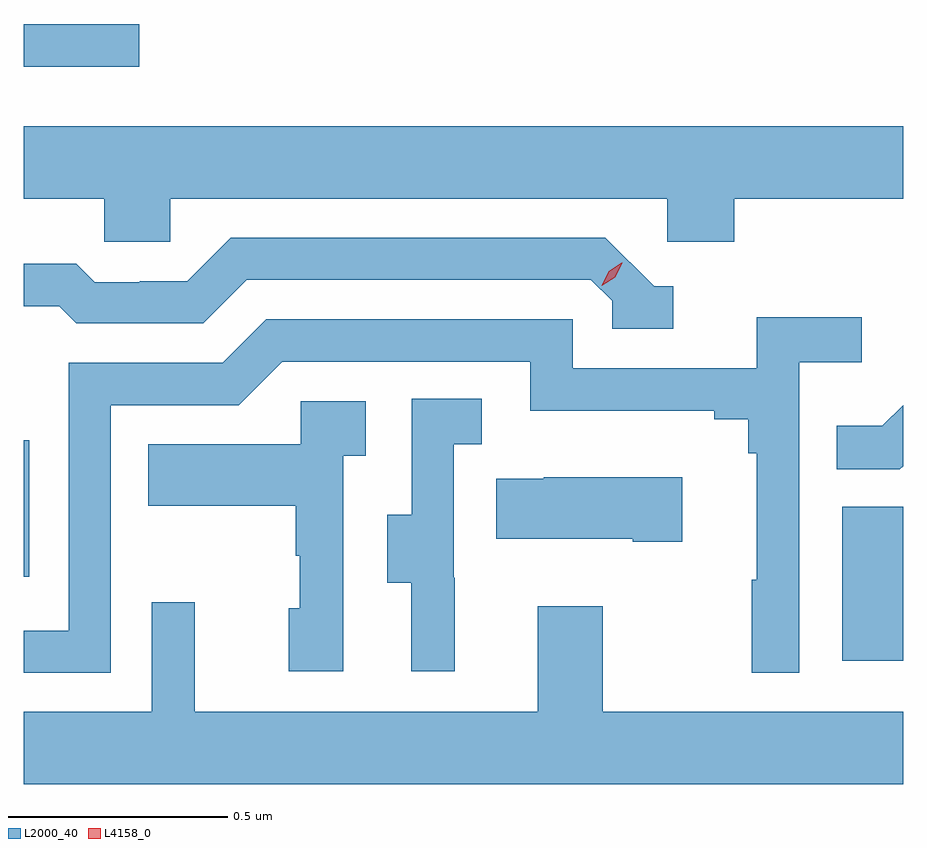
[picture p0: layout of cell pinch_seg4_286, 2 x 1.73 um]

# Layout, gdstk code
import gdstk
lib = gdstk.Library(unit=1e-6, precision=1e-09)
def R(c, l, rs):  # rectangles x0, y0, x1, y1
    for r in rs: c.add(gdstk.rectangle(r[:2], r[2:], *l))
def P(c, l, *ps):  # polygons
    for p in ps: c.add(gdstk.Polygon(p, *l))
L2000_40 = (2000, 40)
L4158_0 = (4158, 0)

pinch_seg4_286 = lib.new_cell('pinch_seg4_286')
R(pinch_seg4_286, L2000_40, [(925.694,806.424,925.832,806.775), (923.832,806.616,923.844,806.926), (923.832,807.776,924.094,807.873)])
P(pinch_seg4_286, L2000_40, [(924.165,807.476),(925.296,807.476),(925.296,807.378),(925.448,807.378),(925.448,807.476),(925.832,807.476),(925.832,807.64),(923.832,807.64),(923.832,807.476),(924.015,807.476),(924.015,807.378),(924.165,807.378)],
  [(925.309,807.276),(925.266,807.276),(925.155,807.387),(924.302,807.387),(924.203,807.288),(924.096,807.288),(924.096,807.285),(923.993,807.285),(923.951,807.328),(923.832,807.328),(923.832,807.231),(923.912,807.231),(923.951,807.192),(924.24,807.192),(924.339,807.291),(925.122,807.291),(925.17,807.243),(925.17,807.18),(925.309,807.18)],
  [(924.03,807.006),(924.321,807.006),(924.42,807.105),(924.984,807.105),(924.984,806.993),(925.403,806.993),(925.403,806.974),(925.48,806.974),(925.48,806.897),(925.499,806.897),(925.499,806.609),(925.488,806.609),(925.488,806.397),(925.596,806.397),(925.596,807.104),(925.738,807.104),(925.738,807.206),(925.499,807.206),(925.499,807.09),(925.08,807.09),(925.08,807.201),(924.383,807.201),(924.284,807.102),(923.934,807.102),(923.934,806.493),(923.832,806.493),(923.832,806.397),(924.03,806.397)],
  [(924.812,806.613),(924.81,806.613),(924.81,806.917),(924.874,806.917),(924.874,807.02),(924.714,807.02),(924.714,806.757),(924.659,806.757),(924.659,806.602),(924.713,806.602),(924.713,806.4),(924.812,806.4)],
  [(924.558,806.891),(924.61,806.891),(924.61,807.015),(924.462,807.015),(924.462,806.917),(924.115,806.917),(924.115,806.777),(924.45,806.777),(924.45,806.663),(924.46,806.663),(924.46,806.544),(924.434,806.544),(924.434,806.4),(924.558,806.4)],
  [(925.832,806.867),(925.832,807.006),(925.785,806.959),(925.681,806.959),(925.681,806.86),(925.825,806.86)],
  [(925.33,806.842),(925.015,806.842),(925.015,806.839),(924.907,806.839),(924.907,806.702),(925.217,806.702),(925.217,806.695),(925.33,806.695)],
  [(925.832,806.308),(925.149,806.308),(925.149,806.548),(925.001,806.548),(925.001,806.308),(924.221,806.308),(924.221,806.557),(924.123,806.557),(924.123,806.308),(923.832,806.308),(923.832,806.144),(925.832,806.144)])
P(pinch_seg4_286, L4158_0, [(925.146,807.277),(925.146,807.277),(925.162,807.31),(925.192,807.33),(925.193,807.33),(925.193,807.329),(925.177,807.297),(925.146,807.277)])

lib.write_gds('pinch_seg4_286.gds')
